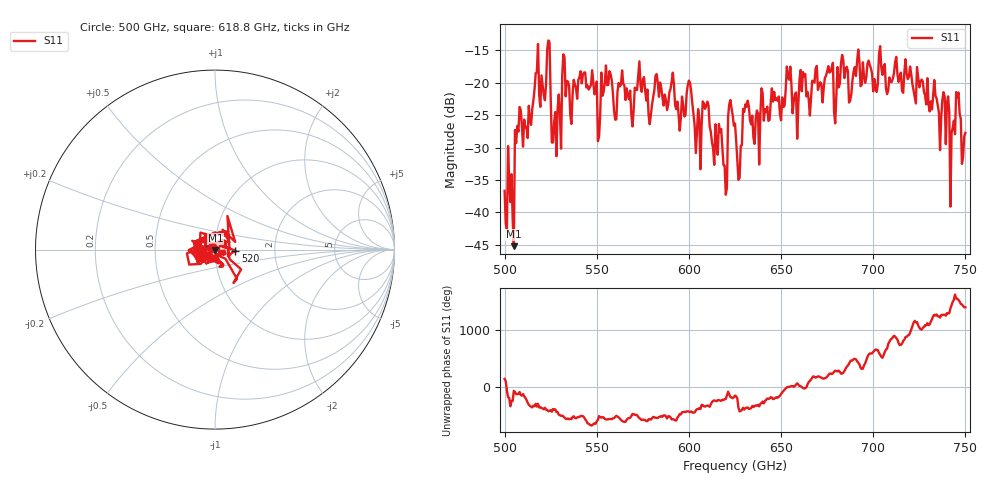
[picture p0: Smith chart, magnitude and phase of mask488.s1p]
!Created with skrf (http://scikit-rf.org).
# GHz S MA R 50.0
!freq magS11 angS11
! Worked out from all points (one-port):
!   401 points, 500 GHz to 750 GHz, reference 50 ohm
!   lowest |S11| = -45.2 dB at 505 GHz (marker M1), VSWR 1.01, Z = 50.2 - j0.499 ohm
!   |S11| at or under -10 dB: start of sweep to end of sweep
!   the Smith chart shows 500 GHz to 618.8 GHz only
!   S11 on the Smith chart (normalised r, x): 500 GHz: 0.98, +0.02; 520 GHz: 1.26, -0.02; 618.8 GHz: 0.97, +0.03
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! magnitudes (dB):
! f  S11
! 500 GHz  -36.7
! 505 GHz  -45.2
! 507.5 GHz  -27.5
! 520 GHz  -18.9
! 523.8 GHz  -13.5
! 526.9 GHz  -26.0
! 531.2 GHz  -18.9
! 542.5 GHz  -18.7
! 550.6 GHz  -29.0
! 562.5 GHz  -20.5
! 590.6 GHz  -19.9
! 593.8 GHz  -22.9
! 600 GHz  -19.7
! 605 GHz  -24.1
! 609.4 GHz  -23.6
! 618.8 GHz  -32.7
! 622.5 GHz  -22.7
! 625 GHz  -26.3
! 627.5 GHz  -34.7
! 630.6 GHz  -23.3
! 636.9 GHz  -24.3
! 656.2 GHz  -24.7
! 687.5 GHz  -22.7
! 718.8 GHz  -19.4
! 739.4 GHz  -29.5
! 743.1 GHz  -26.9
! 746.2 GHz  -21.5
! 750 GHz  -27.7
